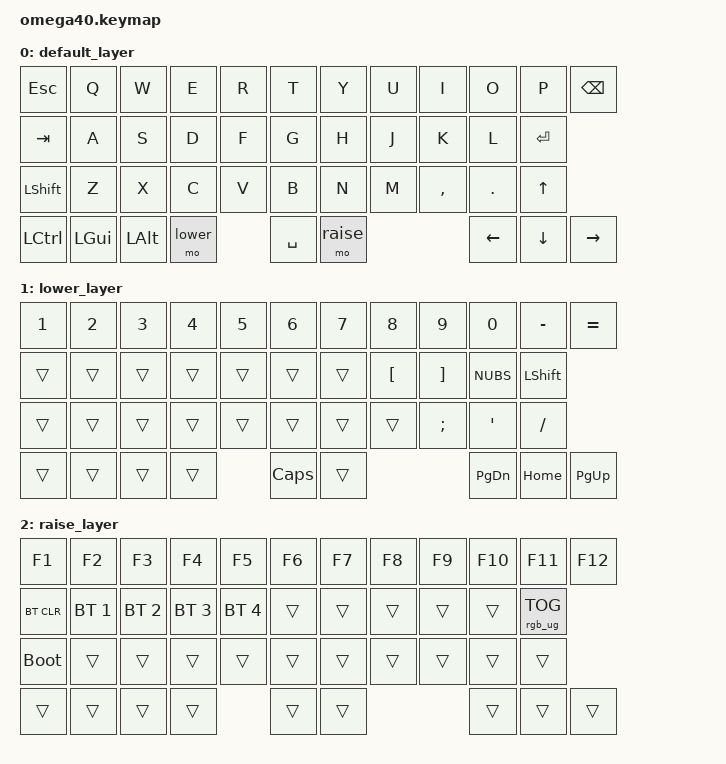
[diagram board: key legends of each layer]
/*
 * Copyright (c) 2021 The ZMK Contributors
 *
 * SPDX-License-Identifier: MIT
 */

#include <behaviors.dtsi>
#include <dt-bindings/zmk/keys.h>
#include <dt-bindings/zmk/bt.h>
#include <dt-bindings/zmk/outputs.h>
#include <dt-bindings/zmk/rgb.h>

#define lower 1
#define raise 2

/ {
    keymap {
        compatible = "zmk,keymap";

        default_layer {
            bindings = <
                &kp ESC      &kp Q     &kp W     &kp E     &kp R     &kp T   &kp Y     &kp U     &kp I      &kp O      &kp P   &kp BSPC
                &kp TAB      &kp A     &kp S     &kp D     &kp F     &kp G   &kp H     &kp J     &kp K      &kp L      &kp RET    
                &kp LSHFT    &kp Z     &kp X     &kp C     &kp V     &kp B   &kp N     &kp M     &kp COMMA  &kp DOT    &kp UP
                &kp LCTRL    &kp LGUI  &kp LALT  &mo lower       &kp SPACE       &mo raise              &kp LEFT   &kp DOWN   &kp RIGHT
            >;
        };
        lower_layer {
            bindings = <
               &kp N1        &kp N2         &kp N3         &kp N4         &kp N5         &kp N6       &kp N7         &kp N8      &kp N9       &kp N0      &kp MINUS   &kp EQUAL
                &trans     &trans      &trans      &trans      &trans      &trans    &trans      &kp LBKT    &kp RBKT     &kp NUBS    &kp LSHFT    
                &trans     &trans      &trans      &trans      &trans      &trans    &trans      &trans   &kp SEMI     &kp APOS    &kp FSLH
                &trans     &trans      &trans      &trans      &kp CAPS       &trans                                   &kp PG_DN   &kp HOME    &kp PG_UP
            >;
        };
        raise_layer {
            bindings = <
                &kp F1       &kp F2         &kp F3           &kp F4           &kp F5           &kp F6       &kp F7         &kp F8       &kp F9       &kp F10    &kp F11   &kp F12
                &bt BT_CLR       &bt BT_SEL 1   &bt BT_SEL 2     &bt BT_SEL 3     &bt BT_SEL 4     &trans    &trans      &trans    &trans    &trans  &rgb_ug RGB_TOG   
                &bootloader  &trans     &trans        &trans        &trans        &trans    &trans      &trans    &trans   &trans  &trans 
                &trans    &trans     &trans        &trans        &trans        &trans                                &trans    &trans  &trans 
            >;
        };
    };
};
